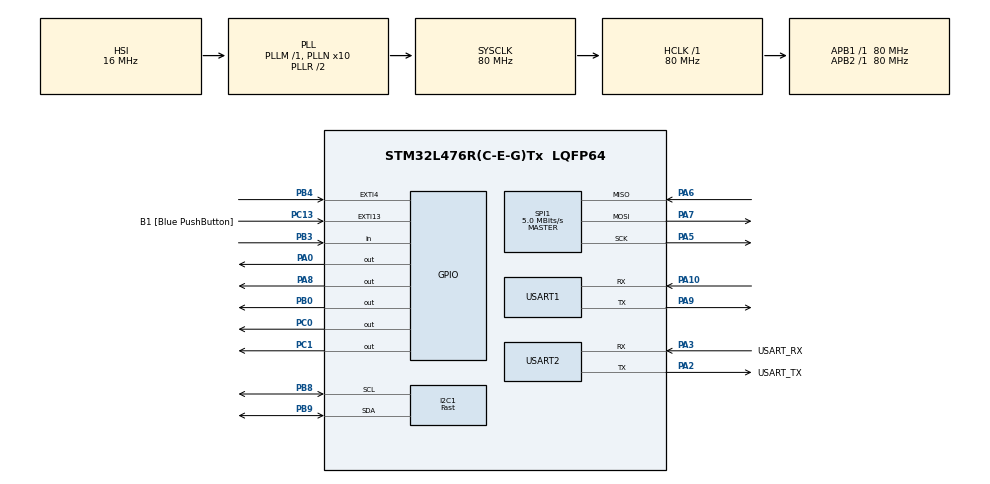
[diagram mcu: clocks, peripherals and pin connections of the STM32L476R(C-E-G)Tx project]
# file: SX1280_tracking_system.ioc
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I2C1.I2C_Speed_Mode=I2C_Fast
I2C1.Timing=0x00702991
Mcu.Family=STM32L4
Mcu.Name=STM32L476R(C-E-G)Tx
Mcu.Package=LQFP64
NVIC.EXTI4_IRQn=true\:0\:0\:false\:false\:true\:true\:true\:true
NVIC.PriorityGroup=NVIC_PRIORITYGROUP_4
NVIC.USART1_IRQn=true\:0\:0\:false\:false\:true\:true\:true\:true
NVIC.USART2_IRQn=true\:0\:0\:false\:false\:true\:true\:true\:true
PA0.Signal=GPIO_Output
PA10.Mode=Asynchronous
PA10.Signal=USART1_RX
PA13\ (JTMS-SWDIO).GPIO_Label=TMS
PA13\ (JTMS-SWDIO).Mode=Serial_Wire
PA13\ (JTMS-SWDIO).Signal=SYS_JTMS-SWDIO
PA14\ (JTCK-SWCLK).GPIO_Label=TCK
PA14\ (JTCK-SWCLK).Mode=Serial_Wire
PA14\ (JTCK-SWCLK).Signal=SYS_JTCK-SWCLK
PA2.GPIO_Label=USART_TX
PA2.GPIO_Mode=GPIO_MODE_AF_PP
PA2.GPIO_PuPd=GPIO_NOPULL
PA2.GPIO_Speed=GPIO_SPEED_FREQ_VERY_HIGH
PA2.Mode=Asynchronous
PA2.Signal=USART2_TX
PA3.GPIO_Label=USART_RX
PA3.GPIO_Mode=GPIO_MODE_AF_PP
PA3.GPIO_PuPd=GPIO_NOPULL
PA3.GPIO_Speed=GPIO_SPEED_FREQ_VERY_HIGH
PA3.Mode=Asynchronous
PA3.Signal=USART2_RX
PA5.Mode=Full_Duplex_Master
PA5.Signal=SPI1_SCK
PA6.Mode=Full_Duplex_Master
PA6.Signal=SPI1_MISO
PA7.Mode=Full_Duplex_Master
PA7.Signal=SPI1_MOSI
PA8.Signal=GPIO_Output
PA9.Mode=Asynchronous
PA9.Signal=USART1_TX
PB0.Signal=GPIO_Output
PB3\ (JTDO-TRACESWO).Signal=GPIO_Input
PB4\ (NJTRST).Signal=GPXTI4
PB8.GPIO_Pu=GPIO_PULLUP
PB8.Mode=I2C
PB8.Signal=I2C1_SCL
PB9.GPIO_Pu=GPIO_PULLUP
PB9.Mode=I2C
PB9.Signal=I2C1_SDA
PC0.Signal=GPIO_Output
PC1.Signal=GPIO_Output
PC13.GPIO_Label=B1 [Blue PushButton]
PC13.GPIO_ModeDefaultEXTI=GPIO_MODE_IT_FALLING
PC13.GPIO_PuPd=GPIO_NOPULL
PC13.Signal=GPXTI13
PC14-OSC32_IN\ (PC14).Mode=LSE-External-Oscillator
PC14-OSC32_IN\ (PC14).Signal=RCC_OSC32_IN
PC15-OSC32_OUT\ (PC15).Mode=LSE-External-Oscillator
PC15-OSC32_OUT\ (PC15).Signal=RCC_OSC32_OUT
PH0-OSC_IN\ (PH0).Signal=RCC_OSC_IN
PH1-OSC_OUT\ (PH1).Signal=RCC_OSC_OUT
ProjectManager.HeapSize=0x200
ProjectManager.StackSize=0x400
ProjectManager.TargetToolchain=STM32CubeIDE
RCC.ADCFreq_Value=64000000
RCC.AHBFreq_Value=80000000
RCC.APB1Freq_Value=80000000
RCC.APB1TimFreq_Value=80000000
RCC.APB2Freq_Value=80000000
RCC.APB2TimFreq_Value=80000000
RCC.CortexFreq_Value=80000000
RCC.HCLKFreq_Value=80000000
RCC.HSE_VALUE=8000000
RCC.HSI_VALUE=16000000
RCC.MSI_VALUE=4000000
RCC.PLLN=10
RCC.PLLSourceVirtual=RCC_PLLSOURCE_HSI
RCC.PREFETCH_ENABLE=1
RCC.SYSCLKFreq_VALUE=80000000
RCC.SYSCLKSource=RCC_SYSCLKSOURCE_PLLCLK
RCC.USBFreq_Value=64000000
RCC.VCOOutputFreq_Value=160000000
SPI1.BaudRatePrescaler=SPI_BAUDRATEPRESCALER_16
SPI1.CalculateBaudRate=5.0 MBits/s
SPI1.DataSize=SPI_DATASIZE_8BIT
SPI1.Direction=SPI_DIRECTION_2LINES
SPI1.Mode=SPI_MODE_MASTER
SPI1.NSSPMode=SPI_NSS_PULSE_DISABLE
SPI1.VirtualType=VM_MASTER
USART1.VirtualMode-Asynchronous=VM_ASYNC
USART2.VirtualMode-Asynchronous=VM_ASYNC
VP_LPTIM1_VS_LPTIM_counterModeInternalClock.Mode=Counts__internal_clock_event_00
board=NUCLEO-L476RG

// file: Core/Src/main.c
/* USER CODE BEGIN Header */
/**
  ******************************************************************************
  * @file           : main.c
  * @brief          : Main program body
  ******************************************************************************
  * @attention
  *
  * Copyright (c) 2025 STMicroelectronics.
  * All rights reserved.
  *
  * This software is licensed under terms that can be found in the LICENSE file
  * in the root directory of this software component.
  * If no LICENSE file comes with this software, it is provided AS-IS.
  *
  ******************************************************************************
  */
/* USER CODE END Header */
#include "main.h"
#include "i2c.h"
#include "lptim.h"
#include "spi.h"
#include "usart.h"
#include "gpio.h"

/* USER CODE BEGIN Includes */
#include "hw.h"
#include "radio.h"
#include "sx1280.h"
#include "radio.h"
#include "utilities.h"

#include "demoRanging.h"
#include "RangingDisplay.h"
/* USER CODE END Includes */

/* USER CODE BEGIN PM */
#define DEMO_SETTING_ENTITY                          MASTER

#define PROXBUFFERSIZE                                  20
/* USER CODE END PM */

/* USER CODE BEGIN PV */
/* Private variables ---------------------------------------------------------*/

/* USER CODE END PV */

void SystemClock_Config(void);
/* USER CODE BEGIN PFP */
/* Private function prototypes -----------------------------------------------*/

/* USER CODE END PFP */

int main(void)
{

  /* MCU Configuration--------------------------------------------------------*/

  /* Reset of all peripherals, Initializes the Flash interface and the Systick. */
  HAL_Init();

  /* Configure the system clock */
  SystemClock_Config();

  /* Initialize all configured peripherals */
  MX_GPIO_Init();
  MX_SPI1_Init();
  MX_USART2_UART_Init();
  MX_USART1_UART_Init();
  MX_I2C1_Init();
  MX_LPTIM1_Init();
  /* USER CODE BEGIN 2 */

  uint16_t FwVersion=0;

  HwInit( );

  GpioWrite(LED_TX_PORT, LED_TX_PIN, 1);
  GpioWrite(LED_RX_PORT, LED_RX_PIN, 1);

  /* 1- Initialize the Ranging Application */
  RangingDemoInitApplication( DEMO_SETTING_ENTITY );

  RangingDemoSetRangingParameters( 40u, DEMO_RNG_ADDR_1, DEMO_RNG_ANT_1, DEMO_RNG_UNIT_SEL_M );
  RangingDemoSetRadioParameters( LORA_SF6, LORA_BW_1600, LORA_CR_4_5, DEMO_CENTRAL_FREQ_PRESET2, DEMO_POWER_TX_MAX );

  Radio.Reset();
  FwVersion = Radio.GetFirmwareVersion();

  if(DEMO_SETTING_ENTITY == MASTER){
	  printf("Ranging Demo as Master , firmware %d \n\r",FwVersion);
  }
  else{
	  printf("Ranging Demo as Slave , firmware %d  \n\r",FwVersion);
  }

  GpioWrite(LED_TX_PORT, LED_TX_PIN, 0);
  GpioWrite(LED_RX_PORT, LED_RX_PIN, 0);
  /* USER CODE END 2 */

  /* Infinite loop */
  while (1)
  {

    /* USER CODE BEGIN 3 */

	  RangingDemoStatus_t demoStatus;
		GpioWrite(LED_TX_PORT, LED_TX_PIN, 1);
		// Run the ranging demo.
		do {
			demoStatus = RangingDemoRun();
		} while (demoStatus == DEMO_RANGING_RUNNING);

		GpioWrite(LED_TX_PORT, LED_TX_PIN, 0);
		// If master, display the ranging result.
		if ( DEMO_SETTING_ENTITY == MASTER) {
			RangingDisplayUartOutputData();
			RangingDisplayUartOutputDistance();
			HAL_Delay(1000);
		}

		if (demoStatus != DEMO_RANGING_TERMINATED) {
			RangingDemoReset();
		}

  }
  /* USER CODE END 3 */
}

void SystemClock_Config(void)
{
  RCC_OscInitTypeDef RCC_OscInitStruct = {0};
  RCC_ClkInitTypeDef RCC_ClkInitStruct = {0};

  /** Configure the main internal regulator output voltage
  */
  if (HAL_PWREx_ControlVoltageScaling(PWR_REGULATOR_VOLTAGE_SCALE1) != HAL_OK)
  {
    Error_Handler();
  }

  /** Initializes the RCC Oscillators according to the specified parameters
  * in the RCC_OscInitTypeDef structure.
  */
  RCC_OscInitStruct.OscillatorType = RCC_OSCILLATORTYPE_HSI;
  RCC_OscInitStruct.HSIState = RCC_HSI_ON;
  RCC_OscInitStruct.HSICalibrationValue = RCC_HSICALIBRATION_DEFAULT;
  RCC_OscInitStruct.PLL.PLLState = RCC_PLL_ON;
  RCC_OscInitStruct.PLL.PLLSource = RCC_PLLSOURCE_HSI;
  RCC_OscInitStruct.PLL.PLLM = 1;
  RCC_OscInitStruct.PLL.PLLN = 10;
  RCC_OscInitStruct.PLL.PLLP = RCC_PLLP_DIV7;
  RCC_OscInitStruct.PLL.PLLQ = RCC_PLLQ_DIV2;
  RCC_OscInitStruct.PLL.PLLR = RCC_PLLR_DIV2;
  if (HAL_RCC_OscConfig(&RCC_OscInitStruct) != HAL_OK)
  {
    Error_Handler();
  }

  /** Initializes the CPU, AHB and APB buses clocks
  */
  RCC_ClkInitStruct.ClockType = RCC_CLOCKTYPE_HCLK|RCC_CLOCKTYPE_SYSCLK
                              |RCC_CLOCKTYPE_PCLK1|RCC_CLOCKTYPE_PCLK2;
  RCC_ClkInitStruct.SYSCLKSource = RCC_SYSCLKSOURCE_PLLCLK;
  RCC_ClkInitStruct.AHBCLKDivider = RCC_SYSCLK_DIV1;
  RCC_ClkInitStruct.APB1CLKDivider = RCC_HCLK_DIV1;
  RCC_ClkInitStruct.APB2CLKDivider = RCC_HCLK_DIV1;

  if (HAL_RCC_ClockConfig(&RCC_ClkInitStruct, FLASH_LATENCY_4) != HAL_OK)
  {
    Error_Handler();
  }
}

void Error_Handler(void)
{
  while(1)
  {
  }
}
